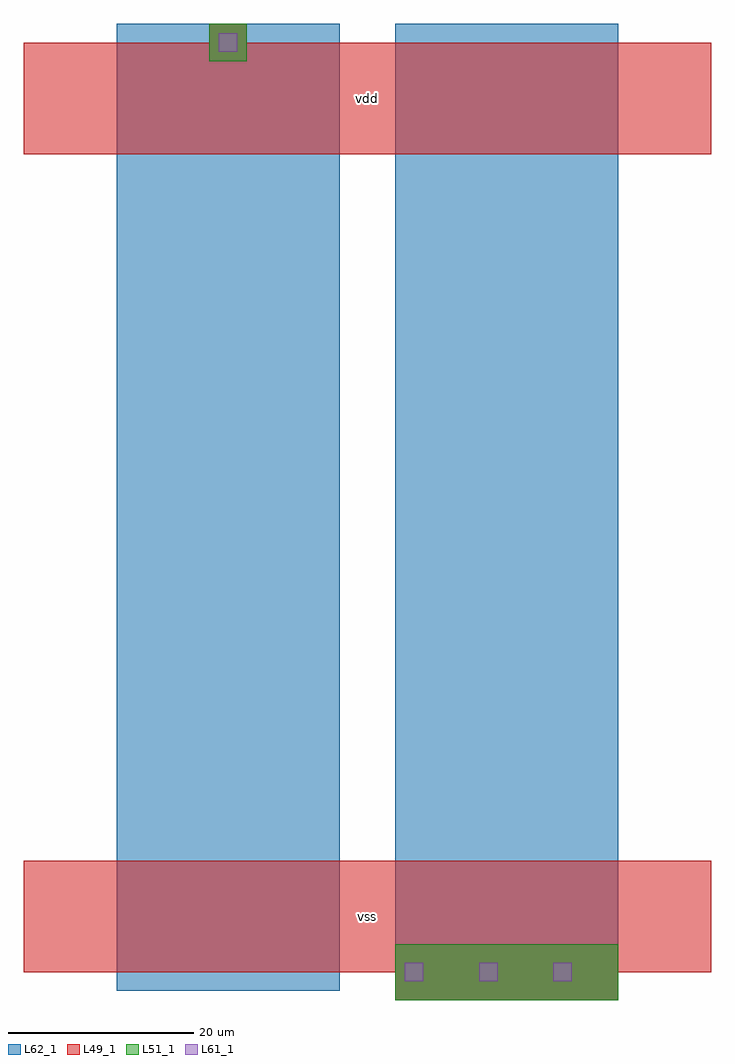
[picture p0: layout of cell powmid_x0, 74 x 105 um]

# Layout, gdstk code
import gdstk
lib = gdstk.Library(unit=1e-6, precision=1e-09)
def R(c, l, rs):  # rectangles x0, y0, x1, y1
    for r in rs: c.add(gdstk.rectangle(r[:2], r[2:], *l))
def A(c, l, x, y, w, h, nx, ny, dx, dy):  # array of equal rectangles
    R(c, l, [(x+i*dx, y+j*dy, x+i*dx+w, y+j*dy+h) for i in range(nx) for j in range(ny)])
L49_1 = (49, 1)
L51_1 = (51, 1)
L61_1 = (61, 1)
L62_1 = (62, 1)

powmid_x0 = lib.new_cell('powmid_x0')
R(powmid_x0, L49_1, [(38,-3,62,0), (-2,0,72,12), (-2,88,72,100), (18,100,22,102)])
R(powmid_x0, L51_1, [(38,-3,62,3), (18,98,22,102)])
A(powmid_x0, L61_1, 39, -1, 2, 2, 3, 1, 8, 0)
R(powmid_x0, L61_1, [(19,99,21,101)])
R(powmid_x0, L62_1, [(38,-3,62,102), (8,-2,32,102)])
powmid_x0.add(gdstk.Label('vss', (35,6), layer=49, texttype=1))
powmid_x0.add(gdstk.Label('vdd', (35,94), layer=49, texttype=1))

lib.write_gds('powmid_x0.gds')
